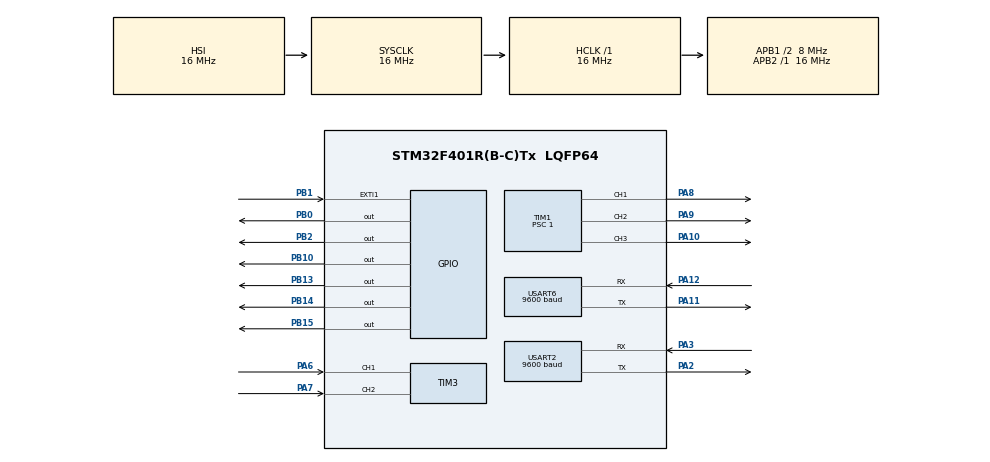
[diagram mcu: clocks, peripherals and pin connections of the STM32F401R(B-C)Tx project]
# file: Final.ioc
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FREERTOS.BinarySemaphores01=Semaphore1,Dynamic,NULL;Semaphore2,Dynamic,NULL;Semaphore3,Dynamic,NULL
FREERTOS.Tasks01=defaultTask,8,128,StartDefaultTask,Default,NULL,Dynamic,NULL,NULL;Communication_T,48,128,Communication,As external,NULL,Dynamic,NULL,NULL;ControllingTask,48,128,Controlling,As external,NULL,Dynamic,NULL,NULL;GetEncoderValue,48,128,getSteeringPosition,As external,NULL,Dynamic,NULL,NULL
FREERTOS.configUSE_NEWLIB_REENTRANT=1
Mcu.Family=STM32F4
Mcu.Name=STM32F401R(B-C)Tx
Mcu.Package=LQFP64
NVIC.EXTI1_IRQn=true\:5\:0\:true\:false\:true\:true\:true\:true\:true
NVIC.PriorityGroup=NVIC_PRIORITYGROUP_4
NVIC.TIM2_IRQn=true\:15\:0\:false\:false\:true\:false\:false\:true\:true
NVIC.TimeBase=TIM2_IRQn
NVIC.TimeBaseIP=TIM2
PA10.Signal=S_TIM1_CH3
PA11.Mode=Asynchronous
PA11.Signal=USART6_TX
PA12.Mode=Asynchronous
PA12.Signal=USART6_RX
PA13.Mode=Serial_Wire
PA13.Signal=SYS_JTMS-SWDIO
PA14.Mode=Serial_Wire
PA14.Signal=SYS_JTCK-SWCLK
PA2.Mode=Asynchronous
PA2.Signal=USART2_TX
PA3.Mode=Asynchronous
PA3.Signal=USART2_RX
PA6.Signal=S_TIM3_CH1
PA7.Signal=S_TIM3_CH2
PA8.Signal=S_TIM1_CH1
PA9.Signal=S_TIM1_CH2
PB0.Signal=GPIO_Output
PB1.Signal=GPXTI1
PB10.Signal=GPIO_Output
PB13.GPIO_ModeDefaultOutputPP=GPIO_MODE_OUTPUT_PP
PB13.GPIO_PuPd=GPIO_NOPULL
PB13.GPIO_Speed=GPIO_SPEED_FREQ_LOW
PB13.Signal=GPIO_Output
PB14.GPIO_ModeDefaultOutputPP=GPIO_MODE_OUTPUT_PP
PB14.GPIO_PuPd=GPIO_NOPULL
PB14.GPIO_Speed=GPIO_SPEED_FREQ_LOW
PB14.PinState=GPIO_PIN_RESET
PB14.Signal=GPIO_Output
PB15.GPIO_ModeDefaultOutputPP=GPIO_MODE_OUTPUT_PP
PB15.GPIO_PuPd=GPIO_NOPULL
PB15.GPIO_Speed=GPIO_SPEED_FREQ_LOW
PB15.PinState=GPIO_PIN_RESET
PB15.Signal=GPIO_Output
PB2.Signal=GPIO_Output
ProjectManager.HeapSize=0x200
ProjectManager.StackSize=0x400
ProjectManager.TargetToolchain=STM32CubeIDE
RCC.48MHZClocksFreq_Value=48000000
RCC.AHBFreq_Value=16000000
RCC.APB1CLKDivider=RCC_HCLK_DIV2
RCC.APB1Freq_Value=8000000
RCC.APB1TimFreq_Value=16000000
RCC.APB2Freq_Value=16000000
RCC.APB2TimFreq_Value=16000000
RCC.CortexFreq_Value=16000000
RCC.HCLKFreq_Value=16000000
RCC.HSE_VALUE=25000000
RCC.HSI_VALUE=16000000
RCC.LSE_VALUE=32768
RCC.PLLM=9
RCC.PLLN=135
RCC.PLLQ=5
RCC.SYSCLKFreq_VALUE=16000000
RCC.VCOOutputFreq_Value=240000000
SH.S_TIM1_CH1.0=TIM1_CH1,PWM Generation1 CH1
SH.S_TIM1_CH2.0=TIM1_CH2,PWM Generation2 CH2
SH.S_TIM1_CH3.0=TIM1_CH3,PWM Generation3 CH3
SH.S_TIM3_CH1.0=TIM3_CH1,Encoder_Interface
SH.S_TIM3_CH2.0=TIM3_CH2,Encoder_Interface
TIM1.Channel-PWM\ Generation1\ CH1=TIM_CHANNEL_1
TIM1.Channel-PWM\ Generation2\ CH2=TIM_CHANNEL_2
TIM1.Channel-PWM\ Generation3\ CH3=TIM_CHANNEL_3
TIM1.Channel-PWM\ Generation4\ CH4=TIM_CHANNEL_4
TIM1.ClockDivision=TIM_CLOCKDIVISION_DIV1
TIM1.OCMode_PWM-PWM\ Generation1\ CH1=TIM_OCMODE_PWM1
TIM1.Prescaler=1
TIM1.Pulse-PWM\ Generation2\ CH2=0
TIM3.AutoReloadPreload=TIM_AUTORELOAD_PRELOAD_ENABLE
TIM3.EncoderMode=TIM_ENCODERMODE_TI12
TIM3.IC2Filter=10
USART2.BaudRate=9600
USART2.VirtualMode=VM_ASYNC
USART6.BaudRate=9600
USART6.VirtualMode=VM_ASYNC
VP_FREERTOS_VS_CMSIS_V2.Mode=CMSIS_V2
VP_SYS_VS_tim2.Mode=TIM2
board=custom

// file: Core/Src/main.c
/* USER CODE BEGIN Header */
/**
  ******************************************************************************
  * @file           : main.c
  * @brief          : Main program body
  ******************************************************************************
  * @attention
  *
  * Copyright (c) 2024 STMicroelectronics.
  * All rights reserved.
  *
  * This software is licensed under terms that can be found in the LICENSE file
  * in the root directory of this software component.
  * If no LICENSE file comes with this software, it is provided AS-IS.
  *
  ******************************************************************************
  */
/* USER CODE END Header */
#include "main.h"
#include "cmsis_os.h"

/* USER CODE BEGIN PD */
#define STEERING_MOTOR_DIR_PIN		GPIO_PIN_13
#define STEERING_MOTOR				2
#define STEERING_RIGHT				0
#define STEERING_LEFT				1
/*For Negative readings */
#define CORRECTIVE_VALUE			500

/* USER CODE END PD */

TIM_HandleTypeDef htim1;
TIM_HandleTypeDef htim3;

UART_HandleTypeDef huart2;
UART_HandleTypeDef huart6;

/* Definitions for defaultTask */
osThreadId_t defaultTaskHandle;
const osThreadAttr_t defaultTask_attributes = {
  .name = "defaultTask",
  .stack_size = 128 * 4,
  .priority = (osPriority_t) osPriorityLow,
};
/* Definitions for Communication_T */
osThreadId_t Communication_THandle;
const osThreadAttr_t Communication_T_attributes = {
  .name = "Communication_T",
  .stack_size = 128 * 4,
  .priority = (osPriority_t) osPriorityRealtime,
};
/* Definitions for ControllingTask */
osThreadId_t ControllingTaskHandle;
const osThreadAttr_t ControllingTask_attributes = {
  .name = "ControllingTask",
  .stack_size = 128 * 4,
  .priority = (osPriority_t) osPriorityRealtime,
};
/* Definitions for GetEncoderValue */
osThreadId_t GetEncoderValueHandle;
const osThreadAttr_t GetEncoderValue_attributes = {
  .name = "GetEncoderValue",
  .stack_size = 128 * 4,
  .priority = (osPriority_t) osPriorityRealtime,
};
/* Definitions for Semaphore1 */
osSemaphoreId_t Semaphore1Handle;
const osSemaphoreAttr_t Semaphore1_attributes = {
  .name = "Semaphore1"
};
/* Definitions for Semaphore2 */
osSemaphoreId_t Semaphore2Handle;
const osSemaphoreAttr_t Semaphore2_attributes = {
  .name = "Semaphore2"
};
/* Definitions for Semaphore3 */
osSemaphoreId_t Semaphore3Handle;
const osSemaphoreAttr_t Semaphore3_attributes = {
  .name = "Semaphore3"
};
/* USER CODE BEGIN PV */
int32_t Max_Steering_Right = 0;
int32_t Max_Steering_Left = 0;
/* USER CODE END PV */

void SystemClock_Config(void);
static void MX_GPIO_Init(void);
static void MX_TIM1_Init(void);
static void MX_USART2_UART_Init(void);
static void MX_TIM3_Init(void);
static void MX_USART6_UART_Init(void);
void StartDefaultTask(void *argument);
extern void Communication(void *argument);
extern void Controlling(void *argument);
extern void getSteeringPosition(void *argument);

/* USER CODE BEGIN PFP */
void calibre_steering(void);
/* USER CODE END PFP */

int main(void)
{

  /* MCU Configuration--------------------------------------------------------*/

  /* Reset of all peripherals, Initializes the Flash interface and the Systick. */
	HAL_Init();

  /* Configure the system clock */
  SystemClock_Config();

  /* Initialize all configured peripherals */
  MX_GPIO_Init();
  MX_TIM1_Init();
  MX_USART2_UART_Init();
  MX_TIM3_Init();
  MX_USART6_UART_Init();
  /* USER CODE BEGIN 2 */
  calibre_steering();
  /* USER CODE END 2 */

  /* Init scheduler */
  osKernelInitialize();

  /* Create the semaphores(s) */
  /* creation of Semaphore1 */
  Semaphore1Handle = osSemaphoreNew(1, 1, &Semaphore1_attributes);

  /* creation of Semaphore2 */
  Semaphore2Handle = osSemaphoreNew(1, 0, &Semaphore2_attributes);

  /* creation of Semaphore3 */
  Semaphore3Handle = osSemaphoreNew(1, 0, &Semaphore3_attributes);

  /* Create the thread(s) */
  /* creation of defaultTask */
  defaultTaskHandle = osThreadNew(StartDefaultTask, NULL, &defaultTask_attributes);

  /* creation of Communication_T */
  Communication_THandle = osThreadNew(Communication, NULL, &Communication_T_attributes);

  /* creation of ControllingTask */
  ControllingTaskHandle = osThreadNew(Controlling, NULL, &ControllingTask_attributes);

  /* creation of GetEncoderValue */
  //GetEncoderValueHandle = osThreadNew(getSteeringPosition, NULL, &GetEncoderValue_attributes);

  /* Start scheduler */
  osKernelStart();

  /* We should never get here as control is now taken by the scheduler */

  /* Infinite loop */
  while (1)
  {

  }
}

void SystemClock_Config(void)
{
  RCC_OscInitTypeDef RCC_OscInitStruct = {0};
  RCC_ClkInitTypeDef RCC_ClkInitStruct = {0};

  /** Configure the main internal regulator output voltage
  */
  __HAL_RCC_PWR_CLK_ENABLE();
  __HAL_PWR_VOLTAGESCALING_CONFIG(PWR_REGULATOR_VOLTAGE_SCALE2);

  /** Initializes the RCC Oscillators according to the specified parameters
  * in the RCC_OscInitTypeDef structure.
  */
  RCC_OscInitStruct.OscillatorType = RCC_OSCILLATORTYPE_HSI;
  RCC_OscInitStruct.HSIState = RCC_HSI_ON;
  RCC_OscInitStruct.HSICalibrationValue = RCC_HSICALIBRATION_DEFAULT;
  RCC_OscInitStruct.PLL.PLLState = RCC_PLL_NONE;
  if (HAL_RCC_OscConfig(&RCC_OscInitStruct) != HAL_OK)
  {
    Error_Handler();
  }

  /** Initializes the CPU, AHB and APB buses clocks
  */
  RCC_ClkInitStruct.ClockType = RCC_CLOCKTYPE_HCLK|RCC_CLOCKTYPE_SYSCLK
                              |RCC_CLOCKTYPE_PCLK1|RCC_CLOCKTYPE_PCLK2;
  RCC_ClkInitStruct.SYSCLKSource = RCC_SYSCLKSOURCE_HSI;
  RCC_ClkInitStruct.AHBCLKDivider = RCC_SYSCLK_DIV1;
  RCC_ClkInitStruct.APB1CLKDivider = RCC_HCLK_DIV2;
  RCC_ClkInitStruct.APB2CLKDivider = RCC_HCLK_DIV1;

  if (HAL_RCC_ClockConfig(&RCC_ClkInitStruct, FLASH_LATENCY_0) != HAL_OK)
  {
    Error_Handler();
  }
}

static void MX_TIM1_Init(void)
{

  TIM_MasterConfigTypeDef sMasterConfig = {0};
  TIM_OC_InitTypeDef sConfigOC = {0};
  TIM_BreakDeadTimeConfigTypeDef sBreakDeadTimeConfig = {0};

  htim1.Instance = TIM1;
  htim1.Init.Prescaler = 1;
  htim1.Init.CounterMode = TIM_COUNTERMODE_UP;
  htim1.Init.Period = 65535;
  htim1.Init.ClockDivision = TIM_CLOCKDIVISION_DIV1;
  htim1.Init.RepetitionCounter = 0;
  htim1.Init.AutoReloadPreload = TIM_AUTORELOAD_PRELOAD_DISABLE;
  if (HAL_TIM_PWM_Init(&htim1) != HAL_OK)
  {
    Error_Handler();
  }
  sMasterConfig.MasterOutputTrigger = TIM_TRGO_RESET;
  sMasterConfig.MasterSlaveMode = TIM_MASTERSLAVEMODE_DISABLE;
  if (HAL_TIMEx_MasterConfigSynchronization(&htim1, &sMasterConfig) != HAL_OK)
  {
    Error_Handler();
  }
  sConfigOC.OCMode = TIM_OCMODE_PWM1;
  sConfigOC.Pulse = 0;
  sConfigOC.OCPolarity = TIM_OCPOLARITY_HIGH;
  sConfigOC.OCNPolarity = TIM_OCNPOLARITY_HIGH;
  sConfigOC.OCFastMode = TIM_OCFAST_DISABLE;
  sConfigOC.OCIdleState = TIM_OCIDLESTATE_RESET;
  sConfigOC.OCNIdleState = TIM_OCNIDLESTATE_RESET;
  if (HAL_TIM_PWM_ConfigChannel(&htim1, &sConfigOC, TIM_CHANNEL_1) != HAL_OK)
  {
    Error_Handler();
  }
  if (HAL_TIM_PWM_ConfigChannel(&htim1, &sConfigOC, TIM_CHANNEL_2) != HAL_OK)
  {
    Error_Handler();
  }
  if (HAL_TIM_PWM_ConfigChannel(&htim1, &sConfigOC, TIM_CHANNEL_3) != HAL_OK)
  {
    Error_Handler();
  }
  sBreakDeadTimeConfig.OffStateRunMode = TIM_OSSR_DISABLE;
  sBreakDeadTimeConfig.OffStateIDLEMode = TIM_OSSI_DISABLE;
  sBreakDeadTimeConfig.LockLevel = TIM_LOCKLEVEL_OFF;
  sBreakDeadTimeConfig.DeadTime = 0;
  sBreakDeadTimeConfig.BreakState = TIM_BREAK_DISABLE;
  sBreakDeadTimeConfig.BreakPolarity = TIM_BREAKPOLARITY_HIGH;
  sBreakDeadTimeConfig.AutomaticOutput = TIM_AUTOMATICOUTPUT_DISABLE;
  if (HAL_TIMEx_ConfigBreakDeadTime(&htim1, &sBreakDeadTimeConfig) != HAL_OK)
  {
    Error_Handler();
  }
  HAL_TIM_MspPostInit(&htim1);

}

static void MX_TIM3_Init(void)
{

  TIM_Encoder_InitTypeDef sConfig = {0};
  TIM_MasterConfigTypeDef sMasterConfig = {0};

  htim3.Instance = TIM3;
  htim3.Init.Prescaler = 0;
  htim3.Init.CounterMode = TIM_COUNTERMODE_UP;
  htim3.Init.Period = 65535;
  htim3.Init.ClockDivision = TIM_CLOCKDIVISION_DIV1;
  htim3.Init.AutoReloadPreload = TIM_AUTORELOAD_PRELOAD_ENABLE;
  sConfig.EncoderMode = TIM_ENCODERMODE_TI12;
  sConfig.IC1Polarity = TIM_ICPOLARITY_RISING;
  sConfig.IC1Selection = TIM_ICSELECTION_DIRECTTI;
  sConfig.IC1Prescaler = TIM_ICPSC_DIV1;
  sConfig.IC1Filter = 0;
  sConfig.IC2Polarity = TIM_ICPOLARITY_RISING;
  sConfig.IC2Selection = TIM_ICSELECTION_DIRECTTI;
  sConfig.IC2Prescaler = TIM_ICPSC_DIV1;
  sConfig.IC2Filter = 10;
  if (HAL_TIM_Encoder_Init(&htim3, &sConfig) != HAL_OK)
  {
    Error_Handler();
  }
  sMasterConfig.MasterOutputTrigger = TIM_TRGO_RESET;
  sMasterConfig.MasterSlaveMode = TIM_MASTERSLAVEMODE_DISABLE;
  if (HAL_TIMEx_MasterConfigSynchronization(&htim3, &sMasterConfig) != HAL_OK)
  {
    Error_Handler();
  }

}

static void MX_USART2_UART_Init(void)
{

  huart2.Instance = USART2;
  huart2.Init.BaudRate = 9600;
  huart2.Init.WordLength = UART_WORDLENGTH_8B;
  huart2.Init.StopBits = UART_STOPBITS_1;
  huart2.Init.Parity = UART_PARITY_NONE;
  huart2.Init.Mode = UART_MODE_TX_RX;
  huart2.Init.HwFlowCtl = UART_HWCONTROL_NONE;
  huart2.Init.OverSampling = UART_OVERSAMPLING_16;
  if (HAL_UART_Init(&huart2) != HAL_OK)
  {
    Error_Handler();
  }

}

static void MX_USART6_UART_Init(void)
{

  huart6.Instance = USART6;
  huart6.Init.BaudRate = 9600;
  huart6.Init.WordLength = UART_WORDLENGTH_8B;
  huart6.Init.StopBits = UART_STOPBITS_1;
  huart6.Init.Parity = UART_PARITY_NONE;
  huart6.Init.Mode = UART_MODE_TX_RX;
  huart6.Init.HwFlowCtl = UART_HWCONTROL_NONE;
  huart6.Init.OverSampling = UART_OVERSAMPLING_16;
  if (HAL_UART_Init(&huart6) != HAL_OK)
  {
    Error_Handler();
  }

}

static void MX_GPIO_Init(void)
{
  GPIO_InitTypeDef GPIO_InitStruct = {0};

  /* GPIO Ports Clock Enable */
  __HAL_RCC_GPIOA_CLK_ENABLE();
  __HAL_RCC_GPIOB_CLK_ENABLE();

  /*Configure GPIO pin Output Level */
  HAL_GPIO_WritePin(GPIOB, GPIO_PIN_13|GPIO_PIN_14|GPIO_PIN_15, GPIO_PIN_RESET);

  /*Configure GPIO pin : PB1 */
  GPIO_InitStruct.Pin = GPIO_PIN_1;
  GPIO_InitStruct.Mode = GPIO_MODE_IT_RISING;
  GPIO_InitStruct.Pull = GPIO_NOPULL;
  HAL_GPIO_Init(GPIOB, &GPIO_InitStruct);

  /*Configure GPIO pins : PB13 PB14 PB15 */
  GPIO_InitStruct.Pin = GPIO_PIN_13|GPIO_PIN_14|GPIO_PIN_15;
  GPIO_InitStruct.Mode = GPIO_MODE_OUTPUT_PP;
  GPIO_InitStruct.Pull = GPIO_NOPULL;
  GPIO_InitStruct.Speed = GPIO_SPEED_FREQ_LOW;
  HAL_GPIO_Init(GPIOB, &GPIO_InitStruct);

  /* EXTI interrupt init*/
  HAL_NVIC_SetPriority(EXTI1_IRQn, 5, 0);
  HAL_NVIC_EnableIRQ(EXTI1_IRQn);

/* USER CODE BEGIN MX_GPIO_Init_2 */

    GPIO_InitStruct.Pin = GPIO_PIN_0;
    GPIO_InitStruct.Mode = GPIO_MODE_OUTPUT_PP;
    GPIO_InitStruct.Pull = GPIO_NOPULL;
    GPIO_InitStruct.Speed = GPIO_SPEED_FREQ_LOW;
    HAL_GPIO_Init(GPIOB, &GPIO_InitStruct);

    GPIO_InitStruct.Pin = GPIO_PIN_2;
    GPIO_InitStruct.Mode = GPIO_MODE_OUTPUT_PP;
    GPIO_InitStruct.Pull = GPIO_NOPULL;
    GPIO_InitStruct.Speed = GPIO_SPEED_FREQ_LOW;
    HAL_GPIO_Init(GPIOB, &GPIO_InitStruct);

    GPIO_InitStruct.Pin = GPIO_PIN_10;
    GPIO_InitStruct.Mode = GPIO_MODE_OUTPUT_PP;
    GPIO_InitStruct.Pull = GPIO_NOPULL;
    GPIO_InitStruct.Speed = GPIO_SPEED_FREQ_LOW;
    HAL_GPIO_Init(GPIOB, &GPIO_InitStruct);

/* USER CODE END MX_GPIO_Init_2 */
}

/* USER CODE BEGIN 4 */
/**
 * @brief Calibrates the steering system by determining the maximum left and right positions.
 *
 * This function performs a calibration routine for the steering system by moving the
 * steering motor to the extreme left and right positions, and then to the middle position.
 * It uses an incremental counter to ensure the motor has reached each position reliably.
 * After calibration, it sets the global variables Max_Steering_Left and Max_Steering_Right
 * to the calibrated values.
 */
void calibre_steering(void)
{
    int32_t current = 0;           // Current encoder value
    int32_t prev = 0;              // Previous encoder value
    uint8_t counter = 0;           // Counter to ensure motor position reliability
    TIM_OC_InitTypeDef sConfigOC;  // PWM configuration structure

    // Initialize encoder and PWM configuration
    HAL_TIM_Encoder_Start(&htim3, TIM_CHANNEL_ALL);
    sConfigOC.OCMode = TIM_OCMODE_PWM1;
    sConfigOC.Pulse = 0;
    sConfigOC.OCPolarity = TIM_OCPOLARITY_HIGH;
    sConfigOC.OCFastMode = TIM_OCFAST_DISABLE;
    HAL_TIM_PWM_ConfigChannel(&htim1, &sConfigOC, TIM_CHANNEL_3);

    // Calibrate maximum right steering position
    while (counter <= 3)
    {
        current = ((int32_t)(int16_t)TIM3->CNT) + CORRECTIVE_VALUE;
        prev = current;
        HAL_GPIO_WritePin(GPIOB, STEERING_MOTOR_DIR_PIN, STEERING_RIGHT);
        sConfigOC.Pulse = 65000;
        HAL_TIM_PWM_ConfigChannel(&htim1, &sConfigOC, TIM_CHANNEL_3);
        HAL_TIM_PWM_Start(&htim1, TIM_CHANNEL_3);
        current = ((int32_t)(int16_t)TIM3->CNT) + CORRECTIVE_VALUE;

        // Check if motor reached the target position
        if (current == prev || current == prev + 1 || current == prev - 1)
        {
            counter++;
        }
        else
        {
            counter = 0;
        }
        HAL_Delay(200);
    }

    // Stop PWM and record maximum right steering position
    sConfigOC.Pulse = 0;
    HAL_TIM_PWM_ConfigChannel(&htim1, &sConfigOC, TIM_CHANNEL_3);
    HAL_TIM_PWM_Start(&htim1, TIM_CHANNEL_3);
    Max_Steering_Right = current;
    HAL_Delay(500);

    counter = 0;

    // Calibrate maximum left steering position
    while (counter <= 3)
    {
        current = ((int32_t)(int16_t)TIM3->CNT) + CORRECTIVE_VALUE;
        prev = current;
        HAL_GPIO_WritePin(GPIOB, STEERING_MOTOR_DIR_PIN, STEERING_LEFT);
        sConfigOC.Pulse = 65000;
        HAL_TIM_PWM_ConfigChannel(&htim1, &sConfigOC, TIM_CHANNEL_3);
        HAL_TIM_PWM_Start(&htim1, TIM_CHANNEL_3);
        current = ((int32_t)(int16_t)TIM3->CNT) + CORRECTIVE_VALUE;

        // Check if motor reached the target position
        if (current == prev || current == prev + 1 || current == prev - 1)
        {
            counter++;
        }
        else
        {
            counter = 0;
        }
        HAL_Delay(200);
    }

    // Stop PWM and record maximum left steering position
    sConfigOC.Pulse = 0;
    HAL_TIM_PWM_ConfigChannel(&htim1, &sConfigOC, TIM_CHANNEL_3);
    HAL_TIM_PWM_Start(&htim1, TIM_CHANNEL_3);
    Max_Steering_Left = current;
    HAL_Delay(500);

    // Set middle position based on calibrated left and right positions
    int32_t middle = ((Max_Steering_Left + Max_Steering_Right) / 2);
    while (current >= middle)
    {
        current = ((int32_t)(int16_t)TIM3->CNT) + CORRECTIVE_VALUE;
        HAL_GPIO_WritePin(GPIOB, STEERING_MOTOR_DIR_PIN, STEERING_RIGHT);
        sConfigOC.Pulse = 40000;
        HAL_TIM_PWM_ConfigChannel(&htim1, &sConfigOC, TIM_CHANNEL_3);
        HAL_TIM_PWM_Start(&htim1, TIM_CHANNEL_3);
        current = ((int32_t)(int16_t)TIM3->CNT) + CORRECTIVE_VALUE;
    }

    // Stop PWM after reaching the middle position
    sConfigOC.Pulse = 0;
    HAL_TIM_PWM_ConfigChannel(&htim1, &sConfigOC, TIM_CHANNEL_3);
    HAL_TIM_PWM_Start(&htim1, TIM_CHANNEL_3);
}

/* USER CODE END 4 */

void StartDefaultTask(void *argument)
{
  for(;;)
  {
    osDelay(1);
  }
}

void HAL_TIM_PeriodElapsedCallback(TIM_HandleTypeDef *htim)
{
  if (htim->Instance == TIM2) {
    HAL_IncTick();
  }
}

void Error_Handler(void)
{
  __disable_irq();
  while (1)
  {
  }
}
